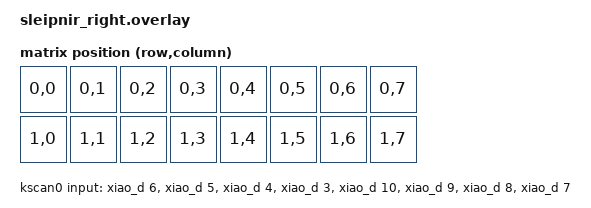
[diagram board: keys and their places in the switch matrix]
#include <dt-bindings/zmk/matrix_transform.h>

/ {
    chosen {
        zmk,kscan = &kscan0;
        zmk,matrix_transform = &default_transform;
    };

    default_transform: matrix_transform {
        compatible = "zmk,matrix-transform";
        columns = <8>;
        rows = <2>;
        row-offset = <1>;
        map = <
            RC(0,0) RC(0,1) RC(0,2) RC(0,3) RC(0,4) RC(0,5) RC(0,6) RC(0,7)
            RC(1,0) RC(1,1) RC(1,2) RC(1,3) RC(1,4) RC(1,5) RC(1,6) RC(1,7)
        >;
    };

    kscan0: kscan {
        compatible = "zmk,kscan-gpio-direct";
        wakeup-source;
        input-gpios
            = <&xiao_d  6 (GPIO_ACTIVE_LOW | GPIO_PULL_UP)>
            , <&xiao_d  5 (GPIO_ACTIVE_LOW | GPIO_PULL_UP)>
            , <&xiao_d  4 (GPIO_ACTIVE_LOW | GPIO_PULL_UP)>
            , <&xiao_d  3 (GPIO_ACTIVE_LOW | GPIO_PULL_UP)>
            , <&xiao_d 10 (GPIO_ACTIVE_LOW | GPIO_PULL_UP)>
            , <&xiao_d  9 (GPIO_ACTIVE_LOW | GPIO_PULL_UP)>
            , <&xiao_d  8 (GPIO_ACTIVE_LOW | GPIO_PULL_UP)>
            , <&xiao_d  7 (GPIO_ACTIVE_LOW | GPIO_PULL_UP)>
            ;
    };
};
